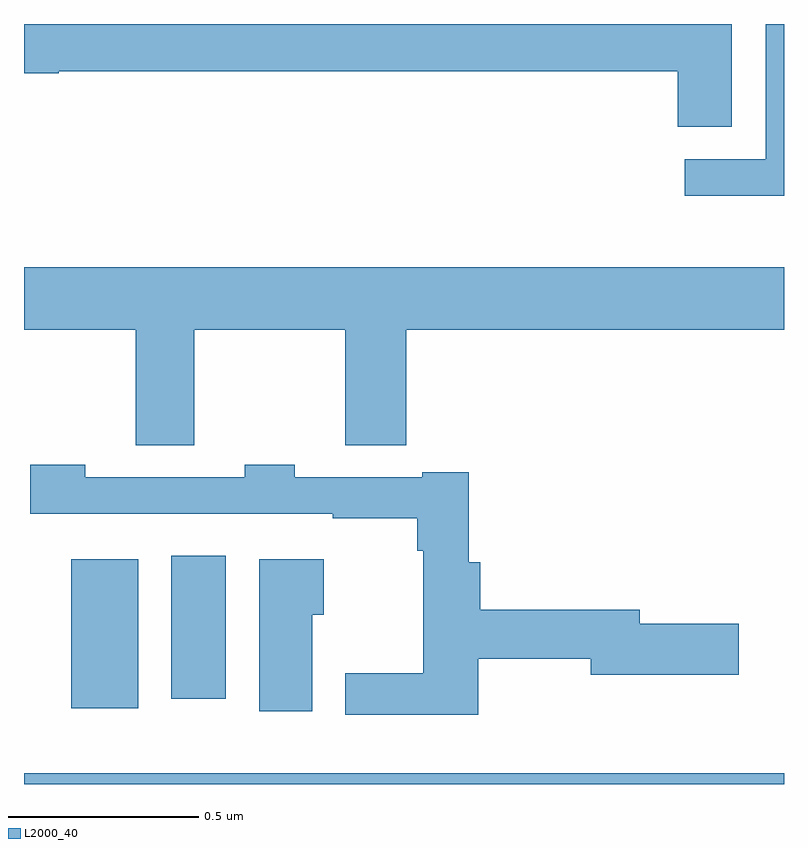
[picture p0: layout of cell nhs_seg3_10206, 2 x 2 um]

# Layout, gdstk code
import gdstk
lib = gdstk.Library(unit=1e-6, precision=1e-09)
def R(c, l, rs):  # rectangles x0, y0, x1, y1
    for r in rs: c.add(gdstk.rectangle(r[:2], r[2:], *l))
def P(c, l, *ps):  # polygons
    for p in ps: c.add(gdstk.Polygon(p, *l))
L2000_40 = (2000, 40)

nhs_seg3_10206 = lib.new_cell('nhs_seg3_10206')
R(nhs_seg3_10206, L2000_40, [(238,686.4,240,686.428), (238.124,686.6,238.3,686.992), (238.388,686.625,238.531,687.001)])
P(nhs_seg3_10206, L2000_40, [(240,688.4),(239.952,688.4),(239.952,688.044),(239.739,688.044),(239.739,687.948),(240,687.948)],
  [(239.863,688.4),(238,688.4),(238,688.271),(238.092,688.271),(238.092,688.276),(239.72,688.276),(239.72,688.129),(239.863,688.129)],
  [(238.448,687.596),(238.846,687.596),(238.846,687.292),(239.006,687.292),(239.006,687.596),(240,687.596),(240,687.76),(238,687.76),(238,687.596),(238.294,687.596),(238.294,687.292),(238.448,687.292)],
  [(239.196,686.73),(239.492,686.73),(239.492,686.687),(239.881,686.687),(239.881,686.822),(239.62,686.822),(239.62,686.858),(239.201,686.858),(239.201,686.983),(239.171,686.983),(239.171,687.22),(239.048,687.22),(239.048,687.207),(238.713,687.207),(238.713,687.24),(238.581,687.24),(238.581,687.207),(238.161,687.207),(238.161,687.24),(238.017,687.24),(238.017,687.111),(238.813,687.111),(238.813,687.099),(239.035,687.099),(239.035,687.014),(239.05,687.014),(239.05,686.692),(238.845,686.692),(238.845,686.582),(239.196,686.582)],
  [(238.759,686.845),(238.789,686.845),(238.789,686.992),(238.619,686.992),(238.619,686.592),(238.759,686.592)])

lib.write_gds('nhs_seg3_10206.gds')
